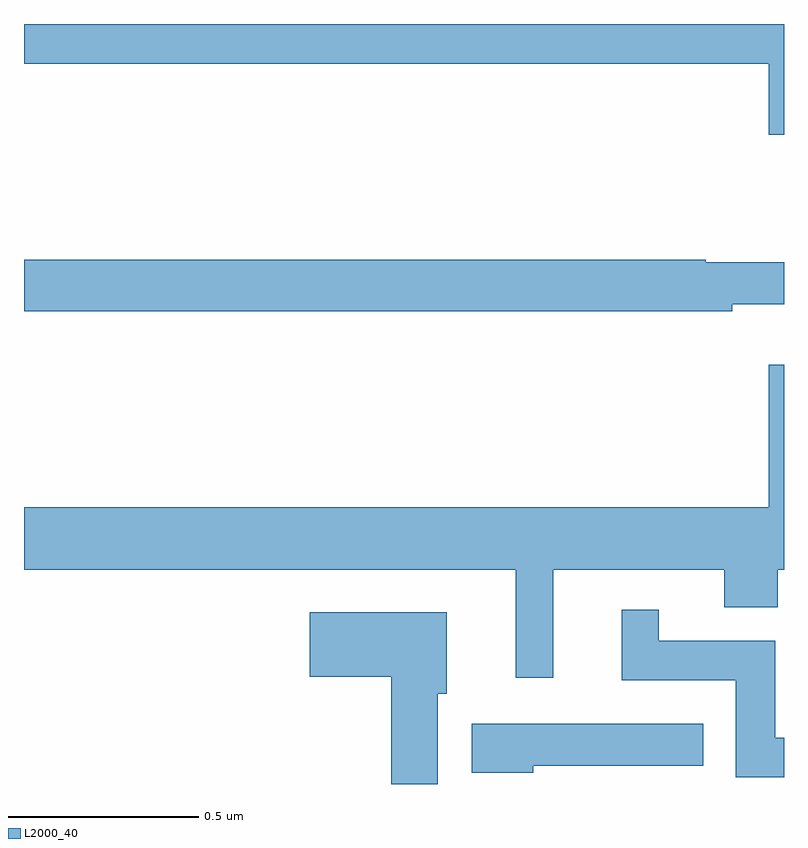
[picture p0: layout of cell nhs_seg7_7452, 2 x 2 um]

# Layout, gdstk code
import gdstk
lib = gdstk.Library(unit=1e-6, precision=1e-09)
def P(c, l, *ps):  # polygons
    for p in ps: c.add(gdstk.Polygon(p, *l))
L2000_40 = (2000, 40)

nhs_seg7_7452 = lib.new_cell('nhs_seg7_7452')
P(nhs_seg7_7452, L2000_40, [(213,1054),(211,1054),(211,1053.896),(212.96,1053.896),(212.96,1053.708),(213,1053.708)],
  [(212.864,1053.263),(213,1053.263),(213,1053.373),(212.794,1053.373),(212.794,1053.38),(211,1053.38),(211,1053.244),(212.864,1053.244)],
  [(212.983,1052.564),(213,1052.564),(213,1053.103),(212.96,1053.103),(212.96,1052.728),(211,1052.728),(211,1052.564),(212.294,1052.564),(212.294,1052.28),(212.393,1052.28),(212.393,1052.564),(212.843,1052.564),(212.843,1052.465),(212.983,1052.465)],
  [(213,1052.122),(212.977,1052.122),(212.977,1052.377),(212.671,1052.377),(212.671,1052.458),(212.573,1052.458),(212.573,1052.273),(212.873,1052.273),(212.873,1052.018),(213,1052.018)],
  [(212.089,1052.238),(212.113,1052.238),(212.113,1052.452),(211.752,1052.452),(211.752,1052.282),(211.967,1052.282),(211.967,1052),(212.089,1052)],
  [(212.34,1052.048),(212.788,1052.048),(212.788,1052.158),(212.178,1052.158),(212.178,1052.03),(212.34,1052.03)])

lib.write_gds('nhs_seg7_7452.gds')
